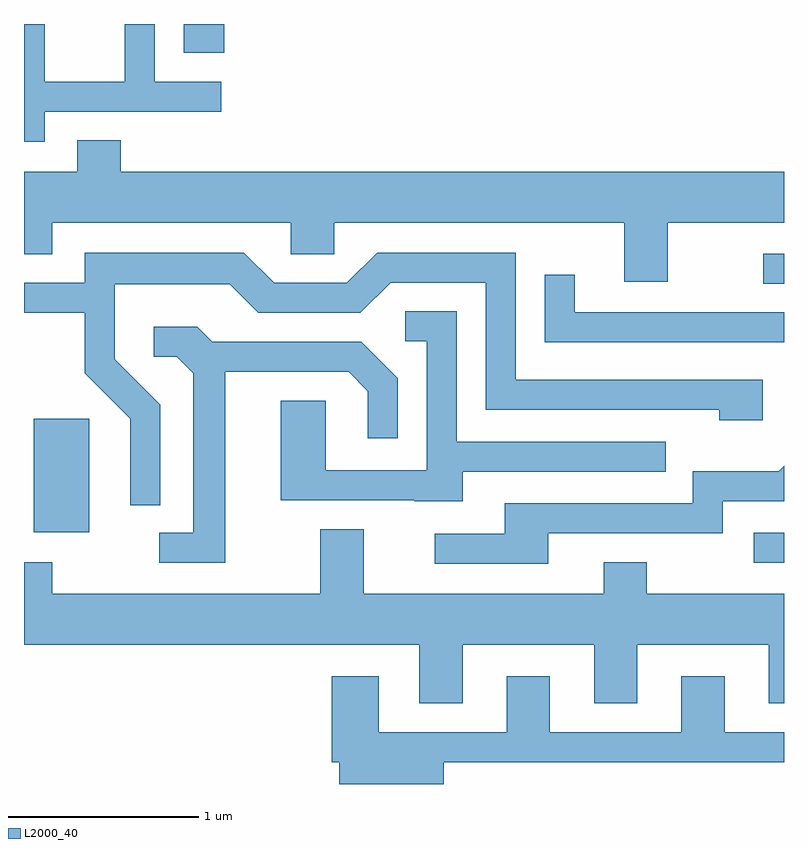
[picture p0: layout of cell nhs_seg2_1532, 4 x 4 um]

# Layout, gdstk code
import gdstk
lib = gdstk.Library(unit=1e-6, precision=1e-09)
def R(c, l, rs):  # rectangles x0, y0, x1, y1
    for r in rs: c.add(gdstk.rectangle(r[:2], r[2:], *l))
def P(c, l, *ps):  # polygons
    for p in ps: c.add(gdstk.Polygon(p, *l))
L2000_40 = (2000, 40)

nhs_seg2_1532 = lib.new_cell('nhs_seg2_1532')
R(nhs_seg2_1532, L2000_40, [(233.453,1050.966,233.611,1051.124), (229.661,1051.126,229.954,1051.724), (233.503,1052.436,233.611,1052.594), (230.451,1053.651,230.664,1053.802)])
P(nhs_seg2_1532, L2000_40, [(229.719,1053.341),(230.648,1053.341),(230.648,1053.499),(230.299,1053.499),(230.299,1053.802),(230.141,1053.802),(230.141,1053.499),(229.719,1053.499),(229.719,1053.802),(229.611,1053.802),(229.611,1053.181),(229.719,1053.181)],
  [(232.999,1052.756),(233.611,1052.756),(233.611,1053.024),(230.119,1053.024),(230.119,1053.189),(229.891,1053.189),(229.891,1053.024),(229.611,1053.024),(229.611,1052.591),(229.759,1052.591),(229.759,1052.756),(231.016,1052.756),(231.016,1052.591),(231.244,1052.591),(231.244,1052.756),(232.771,1052.756),(232.771,1052.446),(232.999,1052.446)],
  [(230.329,1051.797),(230.089,1052.037),(230.089,1052.431),(230.694,1052.431),(230.844,1052.281),(231.382,1052.281),(231.542,1052.441),(232.041,1052.441),(232.041,1051.771),(233.271,1051.771),(233.271,1051.716),(233.499,1051.716),(233.499,1051.929),(232.199,1051.929),(232.199,1052.599),(231.469,1052.599),(231.309,1052.439),(230.927,1052.439),(230.767,1052.599),(229.931,1052.599),(229.931,1052.439),(229.611,1052.439),(229.611,1052.281),(229.931,1052.281),(229.931,1051.964),(230.171,1051.724),(230.171,1051.268),(230.329,1051.268)],
  [(233.611,1052.284),(232.509,1052.284),(232.509,1052.483),(232.351,1052.483),(232.351,1052.126),(233.611,1052.126)],
  [(231.919,1051.446),(232.988,1051.446),(232.988,1051.604),(231.889,1051.604),(231.889,1052.289),(231.618,1052.289),(231.618,1052.131),(231.731,1052.131),(231.731,1051.454),(231.199,1051.454),(231.199,1051.819),(230.961,1051.819),(230.961,1051.296),(231.665,1051.296),(231.665,1051.291),(231.919,1051.291)],
  [(230.669,1051.971),(231.319,1051.971),(231.421,1051.869),(231.421,1051.623),(231.579,1051.623),(231.579,1051.937),(231.387,1052.129),(230.602,1052.129),(230.522,1052.209),(230.293,1052.209),(230.293,1052.051),(230.414,1052.051),(230.501,1051.964),(230.501,1051.124),(230.323,1051.124),(230.323,1050.966),(230.669,1050.966)],
  [(232.369,1051.121),(233.289,1051.121),(233.289,1051.291),(233.611,1051.291),(233.611,1051.476),(233.584,1051.449),(233.131,1051.449),(233.131,1051.279),(232.141,1051.279),(232.141,1051.119),(231.773,1051.119),(231.773,1050.961),(232.369,1050.961)],
  [(231.919,1050.536),(232.611,1050.536),(232.611,1050.226),(232.839,1050.226),(232.839,1050.536),(233.531,1050.536),(233.531,1050.226),(233.611,1050.226),(233.611,1050.804),(232.889,1050.804),(232.889,1050.969),(232.661,1050.969),(232.661,1050.804),(231.399,1050.804),(231.399,1051.144),(231.171,1051.144),(231.171,1050.804),(229.759,1050.804),(229.759,1050.969),(229.611,1050.969),(229.611,1050.536),(231.691,1050.536),(231.691,1050.226),(231.919,1050.226)],
  [(231.819,1049.916),(233.611,1049.916),(233.611,1050.074),(233.299,1050.074),(233.299,1050.369),(233.071,1050.369),(233.071,1050.074),(232.379,1050.074),(232.379,1050.369),(232.151,1050.369),(232.151,1050.074),(231.479,1050.074),(231.479,1050.369),(231.231,1050.369),(231.231,1049.916),(231.271,1049.916),(231.271,1049.802),(231.819,1049.802)])

lib.write_gds('nhs_seg2_1532.gds')
